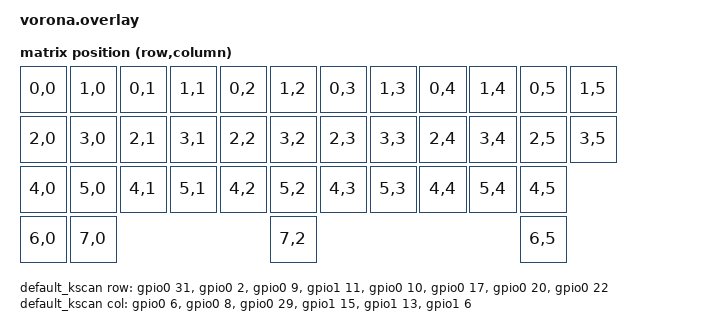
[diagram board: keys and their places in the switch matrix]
#include <dt-bindings/zmk/matrix_transform.h>

/ {
    chosen {
        zmk,kscan = &default_kscan;
        zmk,matrix_transform = &default_transform;
    };

    default_kscan: kscan {
        compatible = "zmk,kscan-gpio-matrix";
        label = "default_kscan";
        diode-direction = "col2row";

        row-gpios =
            <&gpio0 31 (GPIO_ACTIVE_HIGH | GPIO_PULL_DOWN)>,
            <&gpio0 2 (GPIO_ACTIVE_HIGH | GPIO_PULL_DOWN)>,
            <&gpio0 9 (GPIO_ACTIVE_HIGH | GPIO_PULL_DOWN)>,
            <&gpio1 11 (GPIO_ACTIVE_HIGH | GPIO_PULL_DOWN)>,
            <&gpio0 10 (GPIO_ACTIVE_HIGH | GPIO_PULL_DOWN)>,
            <&gpio0 17 (GPIO_ACTIVE_HIGH | GPIO_PULL_DOWN)>,
            <&gpio0 20 (GPIO_ACTIVE_HIGH | GPIO_PULL_DOWN)>,
            <&gpio0 22 (GPIO_ACTIVE_HIGH | GPIO_PULL_DOWN)>;   

        col-gpios =
            <&gpio0 6 GPIO_ACTIVE_HIGH>,
            <&gpio0 8 GPIO_ACTIVE_HIGH>,
            <&gpio0 29 GPIO_ACTIVE_HIGH>,
            <&gpio1 15 GPIO_ACTIVE_HIGH>,
            <&gpio1 13 GPIO_ACTIVE_HIGH>,
            <&gpio1 6 GPIO_ACTIVE_HIGH>;
    };

    default_transform: matrix_transform {
        compatible = "zmk,matrix-transform";
        columns = <6>;
        rows = <8>;

        map = <
            RC(0,0) RC(1,0) RC(0,1) RC(1,1) RC(0,2) RC(1,2) RC(0,3) RC(1,3) RC(0,4) RC(1,4) RC(0,5) RC(1,5)
            RC(2,0) RC(3,0) RC(2,1) RC(3,1) RC(2,2) RC(3,2) RC(2,3) RC(3,3) RC(2,4) RC(3,4) RC(2,5) RC(3,5)
            RC(4,0) RC(5,0) RC(4,1) RC(5,1) RC(4,2) RC(5,2) RC(4,3) RC(5,3) RC(4,4) RC(5,4) RC(4,5)
            RC(6,0) RC(7,0)                         RC(7,2)                                 RC(6,5)
        >;
    };
};

/ {
    aliases {
        led-red = &led0;
        led-green = &led1;
        led-blue = &led2;
    };

    leds {
        compatible = "gpio-leds";
        status = "okay";
        led0: led_0 {
            gpios = <&gpio1 1 GPIO_ACTIVE_HIGH>;  // red LED, connected to P0.26
        };
        led1: led_1 {
            gpios = <&gpio1 2 GPIO_ACTIVE_HIGH>;  // green LED, connected to P0.30
        };
        led2: led_2 {
            gpios = <&gpio1 7 GPIO_ACTIVE_HIGH>;  // blue LED, connected to P0.06
        };
    };
};
